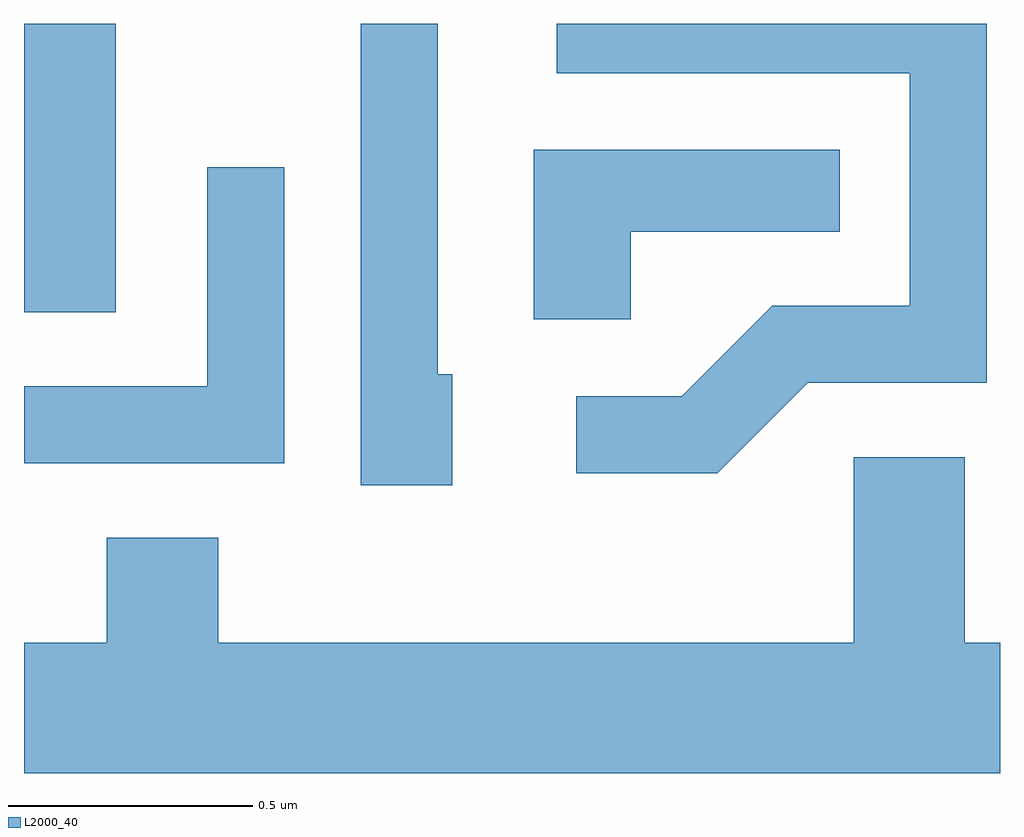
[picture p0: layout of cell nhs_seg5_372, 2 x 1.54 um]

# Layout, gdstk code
import gdstk
lib = gdstk.Library(unit=1e-6, precision=1e-09)
def R(c, l, rs):  # rectangles x0, y0, x1, y1
    for r in rs: c.add(gdstk.rectangle(r[:2], r[2:], *l))
def P(c, l, *ps):  # polygons
    for p in ps: c.add(gdstk.Polygon(p, *l))
L2000_40 = (2000, 40)

nhs_seg5_372 = lib.new_cell('nhs_seg5_372')
R(nhs_seg5_372, L2000_40, [(187.611,1495.481,187.799,1496.072)])
P(nhs_seg5_372, L2000_40, [(188.489,1495.354),(188.459,1495.354),(188.459,1496.072),(188.301,1496.072),(188.301,1495.126),(188.489,1495.126)],
  [(189.217,1495.336),(189.584,1495.336),(189.584,1496.072),(188.703,1496.072),(188.703,1495.971),(189.426,1495.971),(189.426,1495.494),(189.144,1495.494),(188.959,1495.309),(188.743,1495.309),(188.743,1495.151),(189.032,1495.151)],
  [(188.854,1495.646),(189.283,1495.646),(189.283,1495.814),(188.656,1495.814),(188.656,1495.466),(188.854,1495.466)],
  [(188.144,1495.778),(187.986,1495.778),(187.986,1495.329),(187.611,1495.329),(187.611,1495.171),(188.144,1495.171)],
  [(189.611,1494.804),(189.539,1494.804),(189.539,1495.184),(189.311,1495.184),(189.311,1494.804),(188.009,1494.804),(188.009,1495.019),(187.781,1495.019),(187.781,1494.804),(187.611,1494.804),(187.611,1494.536),(189.611,1494.536)])

lib.write_gds('nhs_seg5_372.gds')
